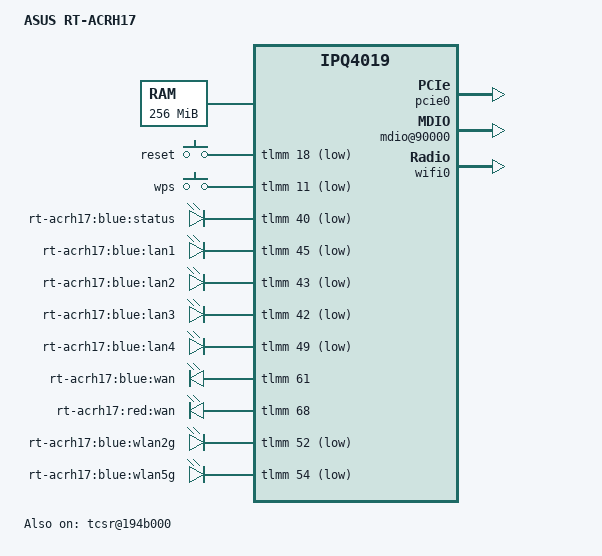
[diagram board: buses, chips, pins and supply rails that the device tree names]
/* Copyright (c) 2015, The Linux Foundation. All rights reserved.
 *
 * Permission to use, copy, modify, and/or distribute this software for any
 * purpose with or without fee is hereby granted, provided that the above
 * copyright notice and this permission notice appear in all copies.
 *
 * THE SOFTWARE IS PROVIDED "AS IS" AND THE AUTHOR DISCLAIMS ALL WARRANTIES
 * WITH REGARD TO THIS SOFTWARE INCLUDING ALL IMPLIED WARRANTIES OF
 * MERCHANTABILITY AND FITNESS. IN NO EVENT SHALL THE AUTHOR BE LIABLE FOR
 * ANY SPECIAL, DIRECT, INDIRECT, OR CONSEQUENTIAL DAMAGES OR ANY DAMAGES
 * WHATSOEVER RESULTING FROM LOSS OF USE, DATA OR PROFITS, WHETHER IN AN
 * ACTION OF CONTRACT, NEGLIGENCE OR OTHER TORTIOUS ACTION, ARISING OUT OF
 * OR IN CONNECTION WITH THE USE OR PERFORMANCE OF THIS SOFTWARE.
 *
 */

#include "qcom-ipq4019-ap.dk04.1.dtsi"
#include "qcom-ipq4019-bus.dtsi"
#include <dt-bindings/gpio/gpio.h>
#include <dt-bindings/input/input.h>
#include <dt-bindings/soc/qcom,tcsr.h>

/ {
	model = "ASUS RT-ACRH17";
	compatible = "asus,rt-acrh17", "qcom,ipq4019";

	memory {
		device_type = "memory";
		reg = <0x80000000 0x10000000>;
	};

	aliases {
		led-boot = &power;
		led-failsafe = &power;
		led-running = &power;
		led-upgrade = &power;
	};

	reserved-memory {
		#address-cells = <0x1>;
		#size-cells = <0x1>;
		ranges;

		rsvd1@87E00000 {
			reg = <0x87e00000 0x200000>;
			no-map;
		};
	};

	soc {
		spi_0: spi@78b5000 {
			status = "disabled";
		};

		pcie0: qcom,pcie@80000 {
			compatible = "qcom,msm_pcie";
			cell-index = <0>;
			qcom,ctrl-amt = <1>;

			reg = <0x80000 0x2000>,
			      <0x99000 0x800>,
			      <0x40000000 0xf1d>,
			      <0x40000f20 0xa8>,
			      <0x40100000 0x1000>,
			      <0x40200000 0x100000>,
			      <0x40300000 0xd00000>;
			reg-names = "parf", "phy", "dm_core", "elbi",
				"conf", "io", "bars";

			#address-cells = <0>;
			interrupt-parent = <&pcie0>;
			interrupts = <0 1 2 3 4 5 6 7 8 9 10 11 12>;
			#interrupt-cells = <1>;
			interrupt-map-mask = <0xffffffff>;
			interrupt-map = <0 &intc 0 141 0
				1 &intc 0 142 0
				2 &intc 0 143 0
				3 &intc 0 144 0
				4 &intc 0 145 0
				5 &intc 0 146 0
				6 &intc 0 147 0
				7 &intc 0 148 0
				8 &intc 0 149 0
				9 &intc 0 150 0
				10 &intc 0 151 0
				11 &intc 0 152 0 >;

			interrupt-names = "int_msi", "int_a", "int_b", "int_c", "int_d",
				"int_pls_pme", "int_pme_legacy", "int_pls_err",
				"int_aer_legacy", "int_pls_link_up",
				"int_pls_link_down", "int_bridge_flush_n","int_wake";

			qcom,ep-latency = <10>;

			clocks = <&gcc GCC_PCIE_AHB_CLK>,
				<&gcc GCC_PCIE_AXI_M_CLK>,
				<&gcc GCC_PCIE_AXI_S_CLK>;

			clock-names =	"pcie_0_cfg_ahb_clk",
					"pcie_0_mstr_axi_clk",
					"pcie_0_slv_axi_clk";

			max-clock-frequency-hz = <0>, <0>, <0>;

			resets = <&gcc PCIE_AXI_M_ARES>,
				<&gcc PCIE_AXI_S_ARES>,
				<&gcc PCIE_PIPE_ARES>,
				<&gcc PCIE_AXI_M_VMIDMT_ARES>,
				<&gcc PCIE_AXI_S_XPU_ARES>,
				<&gcc PCIE_PARF_XPU_ARES>,
				<&gcc PCIE_PHY_ARES>,
				<&gcc PCIE_AXI_M_STICKY_ARES>,
				<&gcc PCIE_PIPE_STICKY_ARES>,
				<&gcc PCIE_PWR_ARES>,
				<&gcc PCIE_AHB_ARES>,
				<&gcc PCIE_PHY_AHB_ARES>;

			reset-names = "pcie_rst_axi_m_ares",
				"pcie_rst_axi_s_ares",
				"pcie_rst_pipe_ares",
				"pcie_rst_axi_m_vmidmt_ares",
				"pcie_rst_axi_s_xpu_ares",
				"pcie_rst_parf_xpu_ares",
				"pcie_rst_phy_ares",
				"pcie_rst_axi_m_sticky_ares",
				"pcie_rst_pipe_sticky_ares",
				"pcie_rst_pwr_ares",
				"pcie_rst_ahb_res",
				"pcie_rst_phy_ahb_ares";

			status = "ok";
			perst-gpio = <&tlmm 38 0>;
			wake-gpio = <&tlmm 50 0>;
			clkreq-gpio = <&tlmm 39 0>;
		};

		tcsr@194b000 {
			/* select hostmode */
			compatible = "qcom,tcsr";
			reg = <0x194b000 0x100>;
			qcom,usb-hsphy-mode-select = <TCSR_USB_HSPHY_HOST_MODE>;
			status = "ok";
		};

		ess_tcsr@1953000 {
			compatible = "qcom,tcsr";
			reg = <0x1953000 0x1000>;
			qcom,ess-interface-select = <TCSR_ESS_PSGMII>;
		};

		tcsr@1949000 {
			compatible = "qcom,tcsr";
			reg = <0x1949000 0x100>;
			qcom,wifi_glb_cfg = <TCSR_WIFI_GLB_CFG>;
		};

		tcsr@1957000 {
			compatible = "qcom,tcsr";
			reg = <0x1957000 0x100>;
			qcom,wifi_noc_memtype_m0_m2 = <TCSR_WIFI_NOC_MEMTYPE_M0_M2>;
		};

		mdio@90000 {
			status = "okay";
		};

		ess-switch@c000000 {
			status = "okay";
		};

		ess-psgmii@98000 {
			status = "okay";
		};

		edma@c080000 {
			status = "okay";
		};

		wifi0: wifi@a000000 {
			status = "ok";
			core-id = <0x0>;
			qca,msi_addr = <0x0b006040>;
			qca,msi_base = <0x40>;
			wifi_led_num = <2>;         /* Wifi 2G */
			wifi_led_source = <0>;      /* source id 0 */
			qcom,mtd-name = "0:ART";
			qcom,cal-offset = <0x1000>;
			qcom,cal-len = <12064>;
		};

		wifi1: wifi@a800000 {
			status = "disabled";
		};
	};

	gpio-keys {
		compatible = "gpio-keys";

		reset {
			label = "reset";
			gpios = <&tlmm 18 GPIO_ACTIVE_LOW>;
			linux,code = <KEY_RESTART>;
		};

		wps {
			label = "wps";
			gpios = <&tlmm 11 GPIO_ACTIVE_LOW>;
			linux,code = <KEY_WPS_BUTTON>;
		};
	};

	gpio-leds {
		compatible = "gpio-leds";

		power: status {
			label = "rt-acrh17:blue:status";
			gpios = <&tlmm 40 GPIO_ACTIVE_LOW>;
		};

		lan1 {
			label = "rt-acrh17:blue:lan1";
			gpios = <&tlmm 45 GPIO_ACTIVE_LOW>;
		};

		lan2 {
			label = "rt-acrh17:blue:lan2";
			gpios = <&tlmm 43 GPIO_ACTIVE_LOW>;
		};

		lan3 {
			label = "rt-acrh17:blue:lan3";
			gpios = <&tlmm 42 GPIO_ACTIVE_LOW>;
		};

		lan4 {
			label = "rt-acrh17:blue:lan4";
			gpios = <&tlmm 49 GPIO_ACTIVE_LOW>;
		};

		wan_blue {
			label = "rt-acrh17:blue:wan";
			gpios = <&tlmm 61 GPIO_ACTIVE_HIGH>;
		};

		wan_red {
			label = "rt-acrh17:red:wan";
			gpios = <&tlmm 68 GPIO_ACTIVE_HIGH>;
		};

		wlan2g {
			label = "rt-acrh17:blue:wlan2g";
			gpios = <&tlmm 52 GPIO_ACTIVE_LOW>;
		};

		wlan5g {
			label = "rt-acrh17:blue:wlan5g";
			gpios = <&tlmm 54 GPIO_ACTIVE_LOW>;
		};
	};
};

&nand_pins {
	pullups {
		pins = "gpio53", "gpio58",
			 "gpio59";
		function = "qpic";
		bias-pull-up;
	};

	pulldowns {
		pins = "gpio55", "gpio56",
			 "gpio57", "gpio60",
			 "gpio62", "gpio63", "gpio64",
			 "gpio65", "gpio66", "gpio67",
			 "gpio69";
		function = "qpic";
		bias-pull-down;
	};
};

&i2c_0_pins {
	pinmux {
		function = "blsp_i2c0";
		pins = "gpio10";
	};
	pinconf {
		pins = "gpio10";
		drive-strength = <16>;
		bias-disable;
	};
};
